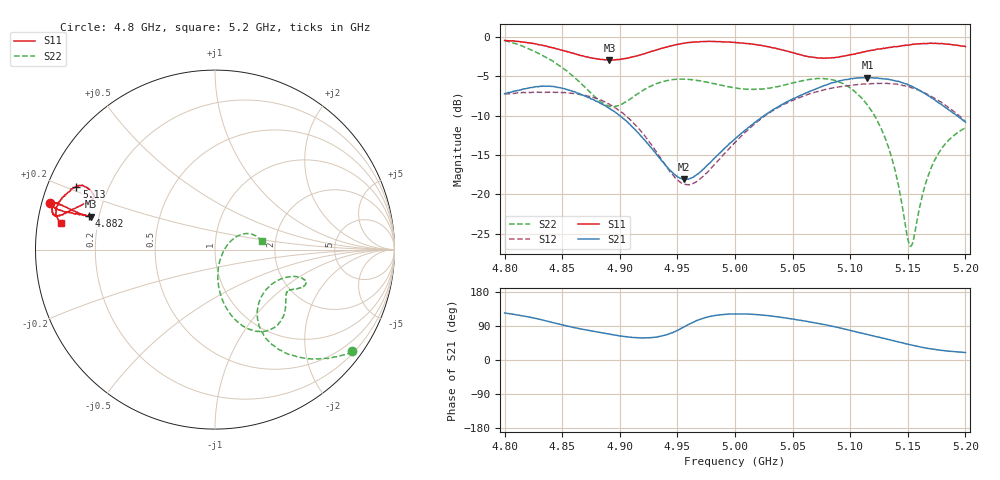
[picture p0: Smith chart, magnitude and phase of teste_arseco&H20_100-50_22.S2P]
! Network Analyzer HP8722D
! Hewlett-Packard
! Data name: Linha & Wilkinson
! Saver's name: Rodrigo Anjos
! Comments: Teste da utilização de aquisição
! continua pelo VNA HP8722D
! Time and date: 6/5/2025 12:45
!  Frequency  S11  S21  S12  S22
# HZ  S  MA R 50
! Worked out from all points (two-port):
!   401 points, 4.8 GHz to 5.2 GHz, reference 50 ohm
!   highest |S21| = -5.15 dB at 5.115 GHz (marker M1); lowest = -18.1 dB at 4.956 GHz (marker M2)
!   |S21| within 3 dB of the highest: start of sweep to 4.88 GHz; 5.046 GHz to 5.175 GHz (128.7 MHz wide, 2.52 % of centre)
!   lowest |S11| = -2.9 dB at 4.891 GHz (marker M3), VSWR 6.01, Z = 8.45 + j6.32 ohm
!   |S11| at or under -10 dB: nowhere
!   |S22| runs from -26.6 to -0.4 dB; largest |S21 - S12| = 0.71
!   S11 on the Smith chart (normalised r, x): 4.8 GHz: 0.02, +0.14; 4.882 GHz: 0.16, +0.13; 5.13 GHz: 0.09, +0.21; 5.2 GHz: 0.07, +0.09
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4.8e9  0.9528 164.3  0.4375 124.1  0.4342 19.2  0.952 -36.6
4.833e9  0.8853 165.7  0.4892 105.5  0.4458 8.8  0.7633 -51.8
4.867e9  0.7623 165.4  0.4308 81.4  0.4303 -5.1  0.5027 -60.1
4.882e9  0.724 165.1  0.3849 73.0  0.4017 -13.6  0.3956 -52.7
4.891e9  0.7148 165.2  0.3522 68.0  0.3746 -19.2  0.3637 -42.5
4.911e9  0.7477 165.2  0.2683 59.7  0.2886 -30.5  0.4144 -22.5
4.934e9  0.8382 164.4  0.1717 61.6  0.1769 -32.7  0.5126 -18.3
4.956e9  0.9146 163.5  0.1246 87.7  0.1163 -5.4  0.5403 -21.2
4.97e9  0.9372 164.2  0.1392 107.6  0.1259 18.4  0.527 -23.6
5e9  0.9268 167.5  0.2256 121.5  0.2143 39.9  0.4752 -28.1
5.034e9  0.8545 166.0  0.349 115.0  0.3454 36.1  0.4801 -34.7
5.067e9  0.7466 158.6  0.4591 99.5  0.4412 21.9  0.541 -47.6
5.092e9  0.7537 155.1  0.5291 83.9  0.4851 8.1  0.5139 -62.6
5.115e9  0.8166 154.1  0.5524 67.0  0.5052 -5.5  0.3694 -76.5
5.13e9  0.8467 155.7  0.5412 56.5  0.508 -15.2  0.2316 -83.7
5.134e9  0.859 156.4  0.5372 53.5  0.507 -18.0  0.1914 -84.5
5.141e9  0.8723 158.1  0.5233 48.5  0.5014 -22.7  0.1223 -82.1
5.15e9  0.8884 160.4  0.4982 41.7  0.4847 -28.9  0.0522 -48.5
5.153e9  0.896 160.9  0.4885 39.5  0.477 -30.9  0.04708 -19.0
5.164e9  0.9121 163.8  0.4425 32.5  0.4449 -37.8  0.1078 29.4
5.172e9  0.9142 165.6  0.4052 28.6  0.4138 -42.0  0.158 30.5
5.2e9  0.8704 170.1  0.288 19.7  0.2917 -52.1  0.2644 10.2
